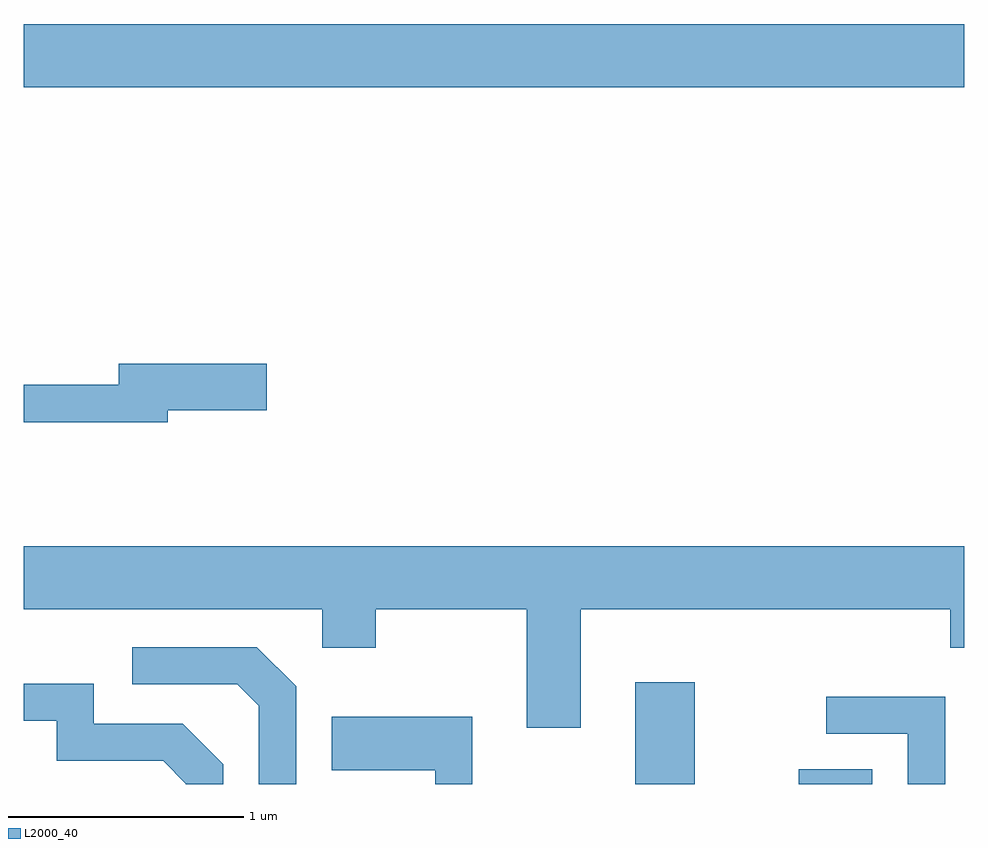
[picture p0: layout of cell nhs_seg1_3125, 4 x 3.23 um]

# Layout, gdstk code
import gdstk
lib = gdstk.Library(unit=1e-6, precision=1e-09)
def R(c, l, rs):  # rectangles x0, y0, x1, y1
    for r in rs: c.add(gdstk.rectangle(r[:2], r[2:], *l))
def P(c, l, *ps):  # polygons
    for p in ps: c.add(gdstk.Polygon(p, *l))
L2000_40 = (2000, 40)

nhs_seg1_3125 = lib.new_cell('nhs_seg1_3125')
R(nhs_seg1_3125, L2000_40, [(282.211,907.712,282.464,908.144), (282.906,907.712,283.219,907.774), (279.611,910.676,283.611,910.944)])
P(nhs_seg1_3125, L2000_40, [(280.224,909.301),(280.644,909.301),(280.644,909.499),(280.016,909.499),(280.016,909.409),(279.611,909.409),(279.611,909.251),(280.224,909.251)],
  [(281.979,908.456),(283.551,908.456),(283.551,908.291),(283.611,908.291),(283.611,908.724),(279.611,908.724),(279.611,908.456),(280.881,908.456),(280.881,908.291),(281.109,908.291),(281.109,908.456),(281.751,908.456),(281.751,907.951),(281.979,907.951)],
  [(280.769,908.127),(280.602,908.294),(280.073,908.294),(280.073,908.136),(280.519,908.136),(280.611,908.044),(280.611,907.712),(280.769,907.712)],
  [(280.459,907.797),(280.287,907.969),(279.909,907.969),(279.909,908.139),(279.611,908.139),(279.611,907.981),(279.751,907.981),(279.751,907.811),(280.204,907.811),(280.301,907.714),(280.301,907.712),(280.459,907.712)],
  [(283.529,908.084),(283.023,908.084),(283.023,907.926),(283.371,907.926),(283.371,907.712),(283.529,907.712)],
  [(281.519,907.999),(280.921,907.999),(280.921,907.771),(281.361,907.771),(281.361,907.712),(281.519,907.712)])

lib.write_gds('nhs_seg1_3125.gds')
